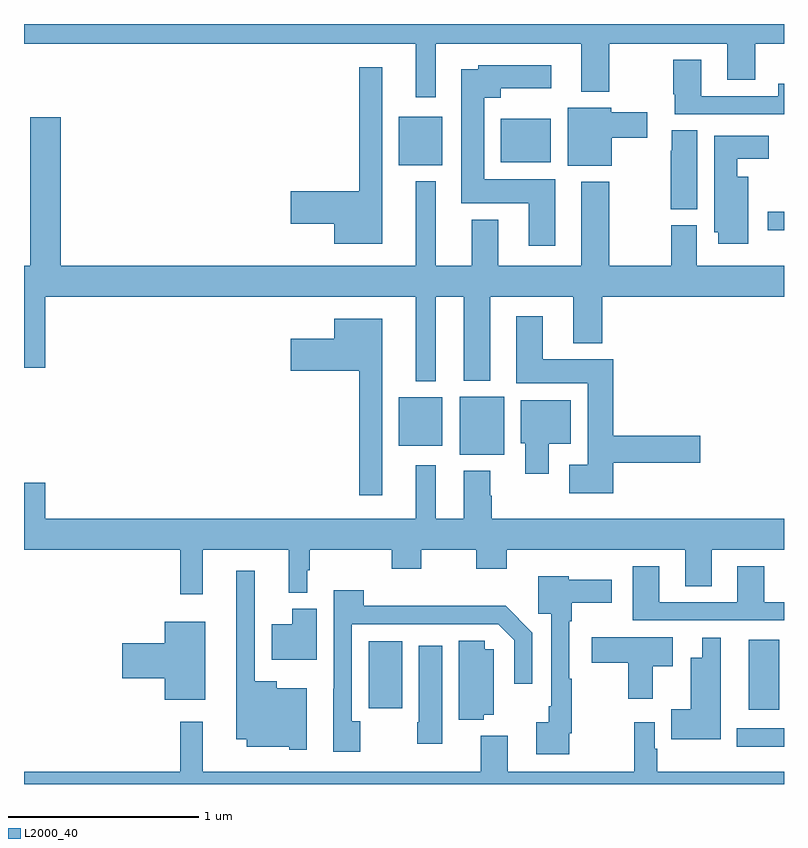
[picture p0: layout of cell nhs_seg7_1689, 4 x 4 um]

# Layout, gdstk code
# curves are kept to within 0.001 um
import gdstk
lib = gdstk.Library(unit=1e-6, precision=1e-09)
def R(c, l, rs):  # rectangles x0, y0, x1, y1
    for r in rs: c.add(gdstk.rectangle(r[:2], r[2:], *l))
def P(c, l, *ps):  # polygons
    for p in ps: c.add(gdstk.Polygon(p, *l))
L2000_40 = (2000, 40)

nhs_seg7_1689 = lib.new_cell('nhs_seg7_1689')
R(nhs_seg7_1689, L2000_40, [(228.752,1050.197,229,1050.294), (228.815,1050.39,228.976,1050.76), (227.294,1051.733,227.527,1052.038), (226.973,1051.781,227.2,1052.035), (228.915,1052.915,229,1053.012), (226.973,1053.257,227.2,1053.511), (227.51,1053.272,227.773,1053.502)])
P(nhs_seg7_1689, L2000_40, [(227.167,1053.896),(227.933,1053.896),(227.933,1053.644),(228.081,1053.644),(228.081,1053.896),(228.701,1053.896),(228.701,1053.706),(228.849,1053.706),(228.849,1053.896),(229,1053.896),(229,1054),(225,1054),(225,1053.896),(227.063,1053.896),(227.063,1053.615),(227.167,1053.615)],
  [(229,1053.685),(228.97,1053.685),(228.97,1053.621),(228.565,1053.621),(228.565,1053.811),(228.418,1053.811),(228.418,1053.631),(228.425,1053.631),(228.425,1053.525),(229,1053.525)],
  [(227.797,1053.184),(227.422,1053.184),(227.422,1053.611),(227.509,1053.611),(227.509,1053.662),(227.776,1053.662),(227.776,1053.784),(227.391,1053.784),(227.391,1053.763),(227.3,1053.763),(227.3,1053.056),(227.657,1053.056),(227.657,1052.832),(227.797,1052.832)],
  [(226.885,1053.772),(226.764,1053.772),(226.764,1053.119),(226.404,1053.119),(226.404,1052.948),(226.634,1052.948),(226.634,1052.843),(226.885,1052.843)],
  [(228.094,1053.401),(228.28,1053.401),(228.28,1053.535),(228.09,1053.535),(228.09,1053.559),(227.861,1053.559),(227.861,1053.254),(228.094,1053.254)],
  [(227.167,1052.564),(227.315,1052.564),(227.315,1052.123),(227.455,1052.123),(227.455,1052.564),(227.891,1052.564),(227.891,1052.321),(228.044,1052.321),(228.044,1052.564),(229,1052.564),(229,1052.728),(228.541,1052.728),(228.541,1052.94),(228.406,1052.94),(228.406,1052.728),(228.081,1052.728),(228.081,1053.169),(227.933,1053.169),(227.933,1052.728),(227.497,1052.728),(227.497,1052.971),(227.357,1052.971),(227.357,1052.728),(227.167,1052.728),(227.167,1053.172),(227.063,1053.172),(227.063,1052.728),(225.194,1052.728),(225.194,1053.508),(225.034,1053.508),(225.034,1052.728),(225,1052.728),(225,1052.19),(225.112,1052.19),(225.112,1052.564),(227.063,1052.564),(227.063,1052.12),(227.167,1052.12)],
  [(228.544,1053.44),(228.41,1053.44),(228.41,1053.332),(228.403,1053.332),(228.403,1053.025),(228.544,1053.025)],
  [(228.811,1053.196),(228.754,1053.196),(228.754,1053.29),(228.919,1053.29),(228.919,1053.412),(228.632,1053.412),(228.632,1052.904),(228.653,1052.904),(228.653,1052.844),(228.811,1052.844)],
  [(228.101,1051.69),(228.559,1051.69),(228.559,1051.832),(228.101,1051.832),(228.101,1052.236),(227.731,1052.236),(227.731,1052.461),(227.591,1052.461),(227.591,1052.108),(227.966,1052.108),(227.966,1051.681),(227.871,1051.681),(227.871,1051.529),(228.101,1051.529)],
  [(226.885,1052.449),(226.634,1052.449),(226.634,1052.344),(226.404,1052.344),(226.404,1052.174),(226.764,1052.174),(226.764,1051.521),(226.885,1051.521)],
  [(227.761,1051.79),(227.878,1051.79),(227.878,1052.02),(227.615,1052.02),(227.615,1051.794),(227.639,1051.794),(227.639,1051.632),(227.761,1051.632)],
  [(225.941,1051.232),(226.394,1051.232),(226.394,1051.007),(226.492,1051.007),(226.492,1051.125),(226.504,1051.125),(226.504,1051.232),(226.936,1051.232),(226.936,1051.133),(227.091,1051.133),(227.091,1051.232),(227.38,1051.232),(227.38,1051.133),(227.54,1051.133),(227.54,1051.232),(228.479,1051.232),(228.479,1051.042),(228.619,1051.042),(228.619,1051.232),(229,1051.232),(229,1051.396),(227.463,1051.396),(227.463,1051.517),(227.455,1051.517),(227.455,1051.648),(227.315,1051.648),(227.315,1051.396),(227.167,1051.396),(227.167,1051.678),(227.063,1051.678),(227.063,1051.396),(225.112,1051.396),(225.112,1051.585),(225,1051.585),(225,1051.232),(225.823,1051.232),(225.823,1050.999),(225.941,1050.999)],
  [(229,1050.957),(228.895,1050.957),(228.895,1051.147),(228.755,1051.147),(228.755,1050.957),(228.343,1050.957),(228.343,1051.147),(228.203,1051.147),(228.203,1050.861),(229,1050.861)],
  [(226.489,1050.505),(226.33,1050.505),(226.33,1050.541),(226.215,1050.541),(226.215,1051.123),(226.118,1051.123),(226.118,1050.236),(226.172,1050.236),(226.172,1050.197),(226.395,1050.197),(226.395,1050.179),(226.489,1050.179)],
  [(227.871,1050.268),(227.884,1050.268),(227.884,1050.554),(227.871,1050.554),(227.871,1050.857),(227.884,1050.857),(227.884,1050.953),(228.094,1050.953),(228.094,1051.075),(227.868,1051.075),(227.868,1051.093),(227.706,1051.093),(227.706,1050.897),(227.775,1050.897),(227.775,1050.409),(227.763,1050.409),(227.763,1050.326),(227.697,1050.326),(227.697,1050.156),(227.871,1050.156)],
  [(226.771,1050.331),(226.725,1050.331),(226.725,1050.84),(227.496,1050.84),(227.58,1050.756),(227.58,1050.528),(227.676,1050.528),(227.676,1050.796),(227.535,1050.938),(226.789,1050.938),(226.789,1051.021),(226.629,1051.021),(226.628,1050.171),(226.771,1050.171)],
  [(226.54,1050.922),(226.412,1050.922),(226.412,1050.841),(226.304,1050.841),(226.304,1050.653),(226.54,1050.653)],
  [(225.955,1050.853),(225.74,1050.853),(225.74,1050.74),(225.516,1050.74),(225.516,1050.557),(225.74,1050.557),(225.74,1050.443),(225.955,1050.443)],
  [(228.31,1050.62),(228.415,1050.62),(228.415,1050.772),(227.988,1050.772),(227.988,1050.638),(228.181,1050.638),(228.181,1050.45),(228.31,1050.45)],
  [(228.667,1050.769),(228.569,1050.769),(228.569,1050.664),(228.509,1050.664),(228.509,1050.394),(228.406,1050.394),(228.406,1050.236),(228.667,1050.236)],
  [(227.421,1050.365),(227.473,1050.365),(227.473,1050.708),(227.424,1050.708),(227.424,1050.755),(227.288,1050.755),(227.288,1050.338),(227.421,1050.338)],
  [(226.99,1050.751),(226.814,1050.751),(226.814,1050.502),(226.815,1050.502),(226.815,1050.399),(226.99,1050.399)],
  [(227.2,1050.727),(227.078,1050.727),(227.078,1050.325),(227.071,1050.325),(227.071,1050.213),(227.2,1050.213)],
  [(229,1050.064),(228.334,1050.064),(228.334,1050.186),(228.321,1050.186),(228.321,1050.325),(228.213,1050.325),(228.213,1050.064),(227.545,1050.064),(227.545,1050.253),(227.405,1050.253),(227.405,1050.064),(225.942,1050.064),(225.942,1050.328),(225.823,1050.328),(225.823,1050.064),(225,1050.064),(225,1050),(229,1050)])

lib.write_gds('nhs_seg7_1689.gds')
